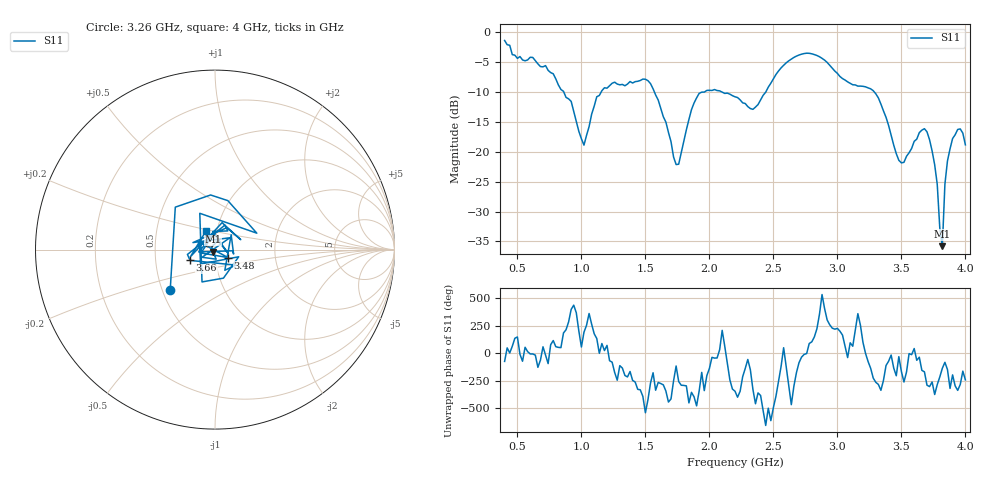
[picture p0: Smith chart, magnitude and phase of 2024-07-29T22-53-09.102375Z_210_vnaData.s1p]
!Created with skrf (http://scikit-rf.org).
# Hz S RI R 50.0
!freq ReS11 ImS11
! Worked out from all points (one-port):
!   181 points, 400 MHz to 4 GHz, reference 50 ohm
!   lowest |S11| = -35.8 dB at 3.82 GHz (marker M1), VSWR 1.03, Z = 48.8 - j1.08 ohm
!   |S11| at or under -10 dB: 1.57 GHz to 1.962 GHz (391.6 MHz wide, 22.2 % of centre); 2.097 GHz to 2.441 GHz (344.3 MHz wide, 15.2 % of centre); 3.288 GHz to end of sweep (the widest 3 of 4)
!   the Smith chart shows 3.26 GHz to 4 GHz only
!   S11 on the Smith chart (normalised r, x): 3.26 GHz: 0.55, -0.28; 3.48 GHz: 1.15, -0.10; 3.66 GHz: 0.75, -0.09; 4 GHz: 0.88, +0.18
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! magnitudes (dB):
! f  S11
! 400 MHz  -1.4
! 720 MHz  -5.6
! 860 MHz  -9.9
! 920 MHz  -11.6
! 1.02 GHz  -18.9
! 1.12 GHz  -10.8
! 1.3 GHz  -8.8
! 1.54 GHz  -8.6
! 1.76 GHz  -22.1
! 1.86 GHz  -13.0
! 1.92 GHz  -10.2
! 2.2 GHz  -10.8
! 2.34 GHz  -12.9
! 2.66 GHz  -4.2
! 2.84 GHz  -3.9
! 3.1 GHz  -8.6
! 3.26 GHz  -9.5
! 3.34 GHz  -12.0
! 3.48 GHz  -21.4
! 3.56 GHz  -20.2
! 3.66 GHz  -16.4
! 3.7 GHz  -16.7
! 3.76 GHz  -22.2
! 3.82 GHz  -35.8
! 3.84 GHz  -25.4
! 3.88 GHz  -19.5
! 3.94 GHz  -16.3
! 4 GHz  -18.9
